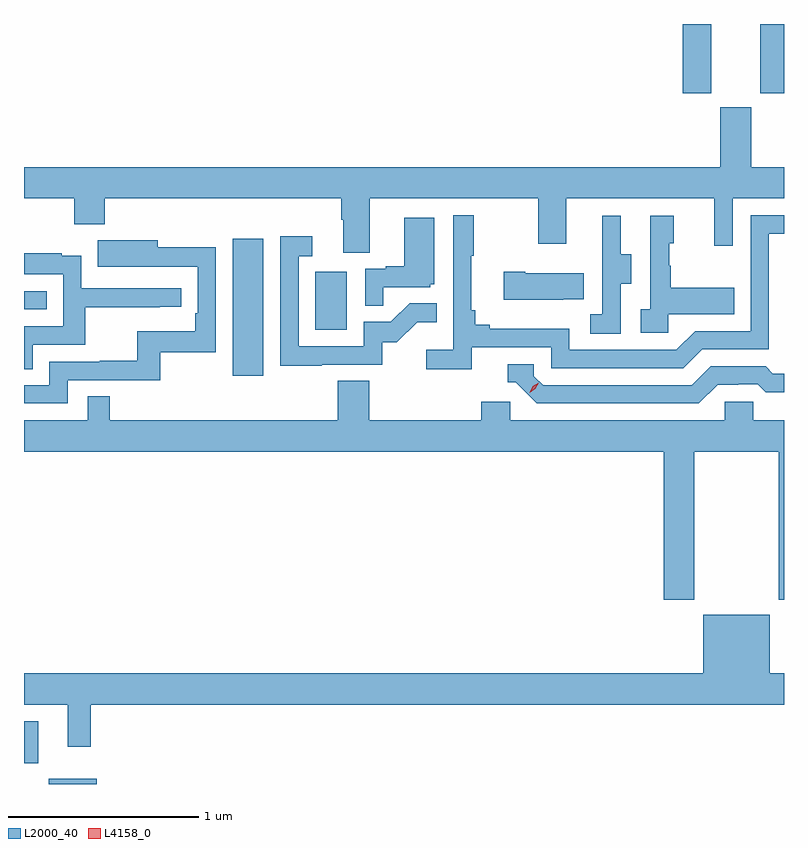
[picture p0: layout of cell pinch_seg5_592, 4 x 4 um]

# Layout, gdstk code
import gdstk
lib = gdstk.Library(unit=1e-6, precision=1e-09)
def R(c, l, rs):  # rectangles x0, y0, x1, y1
    for r in rs: c.add(gdstk.rectangle(r[:2], r[2:], *l))
def P(c, l, *ps):  # polygons
    for p in ps: c.add(gdstk.Polygon(p, *l))
L2000_40 = (2000, 40)
L4158_0 = (4158, 0)

pinch_seg5_592 = lib.new_cell('pinch_seg5_592')
R(pinch_seg5_592, L2000_40, [(1083.44,856.342,1083.694,856.369), (1083.31,856.451,1083.385,856.672), (1084.409,858.492,1084.57,859.213), (1084.844,858.732,1085.008,859.039), (1083.31,858.84,1083.431,858.936), (1086.776,859.977,1086.928,860.342), (1087.184,859.977,1087.31,860.342)])
P(pinch_seg5_592, L2000_40, [(1085.131,859.424),(1086.016,859.424),(1086.016,859.185),(1086.163,859.185),(1086.163,859.424),(1086.944,859.424),(1086.944,859.176),(1087.041,859.176),(1087.041,859.424),(1087.31,859.424),(1087.31,859.588),(1087.138,859.588),(1087.138,859.905),(1086.974,859.905),(1086.974,859.588),(1083.31,859.588),(1083.31,859.424),(1083.574,859.424),(1083.574,859.289),(1083.734,859.289),(1083.734,859.424),(1084.979,859.424),(1084.979,859.312),(1084.991,859.312),(1084.991,859.138),(1085.131,859.138)],
  [(1085.666,858.642),(1086.084,858.642),(1086.084,858.531),(1086.781,858.531),(1086.88,858.63),(1087.23,858.63),(1087.23,859.239),(1087.31,859.239),(1087.31,859.335),(1087.134,859.335),(1087.134,858.726),(1086.843,858.726),(1086.744,858.627),(1086.18,858.627),(1086.18,858.739),(1085.761,858.739),(1085.761,858.758),(1085.684,858.758),(1085.684,858.835),(1085.665,858.835),(1085.665,859.123),(1085.677,859.123),(1085.677,859.336),(1085.568,859.336),(1085.568,858.628),(1085.427,858.628),(1085.427,858.526),(1085.666,858.526)],
  [(1086.702,858.815),(1087.049,858.815),(1087.049,858.955),(1086.715,858.955),(1086.715,859.07),(1086.705,859.07),(1086.705,859.188),(1086.73,859.188),(1086.73,859.333),(1086.606,859.333),(1086.606,858.842),(1086.555,858.842),(1086.555,858.717),(1086.702,858.717)],
  [(1086.45,858.976),(1086.505,858.976),(1086.505,859.131),(1086.451,859.131),(1086.451,859.333),(1086.353,859.333),(1086.353,859.119),(1086.354,859.119),(1086.354,858.815),(1086.291,858.815),(1086.291,858.712),(1086.45,858.712)],
  [(1085.201,858.957),(1085.448,858.957),(1085.448,858.972),(1085.47,858.972),(1085.47,859.321),(1085.312,859.321),(1085.312,859.066),(1085.213,859.066),(1085.213,859.053),(1085.106,859.053),(1085.106,858.859),(1085.201,858.859)],
  [(1084.877,858.549),(1085.196,858.549),(1085.196,858.666),(1085.272,858.666),(1085.379,858.773),(1085.483,858.773),(1085.483,858.872),(1085.339,858.872),(1085.241,858.774),(1085.097,858.774),(1085.097,858.645),(1084.755,858.645),(1084.755,859.119),(1084.828,859.119),(1084.828,859.225),(1084.659,859.225),(1084.659,858.544),(1084.877,858.544)],
  [(1083.54,858.468),(1084.027,858.468),(1084.027,858.615),(1084.32,858.615),(1084.32,859.166),(1084.015,859.166),(1084.015,859.204),(1083.697,859.204),(1083.697,859.064),(1083.911,859.064),(1083.911,859.065),(1084.224,859.065),(1084.224,858.82),(1084.211,858.82),(1084.211,858.724),(1083.906,858.724),(1083.906,858.569),(1083.709,858.569),(1083.709,858.564),(1083.444,858.564),(1083.444,858.441),(1083.31,858.441),(1083.31,858.345),(1083.54,858.345)],
  [(1083.355,858.654),(1083.632,858.654),(1083.632,858.85),(1084.025,858.85),(1084.025,858.855),(1084.138,858.855),(1084.138,858.951),(1083.612,858.951),(1083.612,859.123),(1083.509,859.123),(1083.509,859.135),(1083.31,859.135),(1083.31,859.026),(1083.516,859.026),(1083.516,858.75),(1083.31,858.75),(1083.31,858.526),(1083.355,858.526)],
  [(1086.149,858.893),(1086.257,858.893),(1086.257,859.03),(1085.947,859.03),(1085.947,859.038),(1085.835,859.038),(1085.835,858.89),(1086.149,858.89)],
  [(1086.961,858.444),(1087.068,858.444),(1087.068,858.447),(1087.171,858.447),(1087.213,858.405),(1087.31,858.405),(1087.31,858.501),(1087.252,858.501),(1087.213,858.54),(1086.924,858.54),(1086.825,858.441),(1086.042,858.441),(1085.994,858.489),(1085.994,858.552),(1085.855,858.552),(1085.855,858.456),(1085.898,858.456),(1086.009,858.345),(1086.862,858.345)],
  [(1086.837,858.092),(1087.282,858.092),(1087.282,857.313),(1087.31,857.313),(1087.31,858.256),(1087.149,858.256),(1087.149,858.354),(1086.999,858.354),(1086.999,858.256),(1085.868,858.256),(1085.868,858.354),(1085.717,858.354),(1085.717,858.256),(1085.126,858.256),(1085.126,858.464),(1084.961,858.464),(1084.961,858.256),(1083.761,858.256),(1083.761,858.383),(1083.645,858.383),(1083.645,858.256),(1083.31,858.256),(1083.31,858.092),(1086.677,858.092),(1086.677,857.313),(1086.837,857.313)],
  [(1083.661,856.76),(1087.31,856.76),(1087.31,856.924),(1087.234,856.924),(1087.234,857.233),(1086.884,857.233),(1086.884,856.924),(1083.31,856.924),(1083.31,856.76),(1083.539,856.76),(1083.539,856.539),(1083.661,856.539)])
P(pinch_seg5_592, L4158_0, [(1085.971,858.402),(1085.971,858.403),(1085.988,858.435),(1086.019,858.454),(1086.019,858.454),(1086.019,858.454),(1086.002,858.422),(1085.971,858.402)])

lib.write_gds('pinch_seg5_592.gds')
